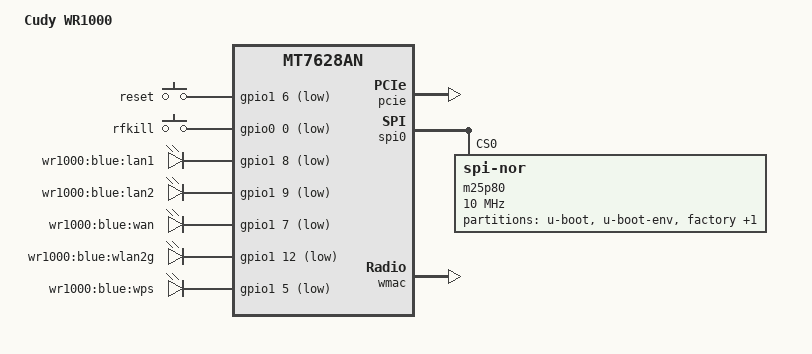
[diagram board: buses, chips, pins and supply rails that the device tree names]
/dts-v1/;

#include "mt7628an.dtsi"

#include <dt-bindings/gpio/gpio.h>
#include <dt-bindings/input/input.h>

/ {
	compatible = "cudy,wr1000", "mediatek,mt7628an-soc";
	model = "Cudy WR1000";

	aliases {
		led-boot = &led_wps;
		led-failsafe = &led_wps;
		led-upgrade = &led_wps;
	};

	gpio-keys-polled {
		compatible = "gpio-keys-polled";
		poll-interval = <20>;

		reset {
			label = "reset";
			gpios = <&gpio1 6 GPIO_ACTIVE_LOW>;
			linux,code = <KEY_RESTART>;
		};

		wps {
			label = "rfkill";
			gpios = <&gpio0 0 GPIO_ACTIVE_LOW>;
			linux,code = <KEY_WPS_BUTTON>;
		};
	};

	gpio-leds {
		compatible = "gpio-leds";

		lan1 {
			label = "wr1000:blue:lan1";
			gpios = <&gpio1 8 GPIO_ACTIVE_LOW>;
		};

		lan2 {
			label = "wr1000:blue:lan2";
			gpios = <&gpio1 9 GPIO_ACTIVE_LOW>;
		};

		wan {
			label = "wr1000:blue:wan";
			gpios = <&gpio1 7 GPIO_ACTIVE_LOW>;
		};

//		wan_orange {
//			label = "c50-v3:orange:wan";
//			gpios = <&gpio1 8 GPIO_ACTIVE_LOW>;
//		};

		wlan2g {
			label = "wr1000:blue:wlan2g";
			gpios = <&gpio1 12 GPIO_ACTIVE_LOW>;
		};

//		wlan5 {
//			label = "c50-v3:green:wlan5g";
//			gpios = <&gpio1 10 GPIO_ACTIVE_LOW>;
//		};

		led_wps: wps {
			label = "wr1000:blue:wps";
			gpios = <&gpio1 5 GPIO_ACTIVE_LOW>;
		};
	};
};

//&pinctrl {
//	state_default: pinctrl0 {
//		gpio {
//			ralink,group = "wled_an", "uart1", "gpio", "i2s", "i2c", "p4led_kn", "p2led_kn", "p1led_kn", "p0led_kn", "wled_kn", "perst", "refclk", "wdt", "p4led_an", "p3led_an", "p2led_an", "p1led_an", "p0led_an";
//			ralink,function = "gpio";
//		};
//	};
//};

&pinctrl {
	state_default: pinctrl0 {
		gpio {
			ralink,group = "i2s", "refclk", "wdt", "p4led_an", "p3led_an", "p2led_an", "wled_an";
			ralink,function = "gpio";
		};
	};
};

&pcie {
	status = "okay";
};

&pcie0 {
	mt76@0,0 {
		reg = <0x0000 0 0 0 0>;
		mediatek,mtd-eeprom = <&factory 0x8000>;
		ieee80211-freq-limit = <5000000 6000000>;
		
		led {
			led-sources = <2>;
			led-active-low;
		};
	};
};

&spi0 {
	status = "okay";

	m25p80@0 {
		#address-cells = <1>;
		#size-cells = <1>;
		compatible = "jedec,spi-nor";
		reg = <0>;
		spi-max-frequency = <10000000>;
		m25p,chunked-io = <32>;

		partition@0 {
			label = "u-boot";
			reg = <0x0 0x30000>;
			read-only;
		};

		partition@30000 {
			label = "u-boot-env";
			reg = <0x30000 0x10000>;
			read-only;
		};

		factory: partition@40000 {
			label = "factory";
			reg = <0x40000 0x10000>;
			read-only;
		};

		partition@50000 {
			label = "firmware";
			reg = <0x50000 0x7b0000>;
		};
	};
};

&wmac {
	status = "okay";
	ralink,mtd-eeprom = <&factory 0x4>;
};

&ethernet {
	mtd-mac-address = <&factory 0x2e>;
	mediatek,portmap = "llllw";
};
